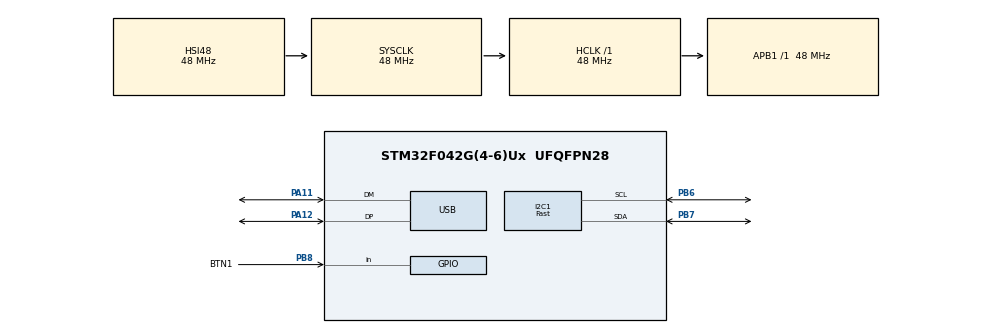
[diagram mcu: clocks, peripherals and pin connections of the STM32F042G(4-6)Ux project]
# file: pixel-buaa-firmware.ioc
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I2C1.I2C_Speed_Mode=I2C_Fast
I2C1.Timing=0x0000020B
Mcu.Family=STM32F0
Mcu.Name=STM32F042G(4-6)Ux
Mcu.Package=UFQFPN28
NVIC.TIM2_IRQn=true\:0\:0\:false\:false\:true\:true\:true
NVIC.TIM3_IRQn=true\:0\:0\:false\:false\:true\:true\:true
PA11.Mode=Device
PA11.Signal=USB_DM
PA12.Mode=Device
PA12.Signal=USB_DP
PA13.Mode=Serial_Wire
PA13.Signal=SYS_SWDIO
PA14.Mode=Serial_Wire
PA14.Signal=SYS_SWCLK
PB6.Mode=I2C
PB6.Signal=I2C1_SCL
PB7.Mode=I2C
PB7.Signal=I2C1_SDA
PB8.GPIO_Label=BTN1
PB8.Signal=GPIO_Input
ProjectManager.HeapSize=0x200
ProjectManager.StackSize=0x400
ProjectManager.TargetToolchain=STM32CubeIDE
RCC.AHBFreq_Value=48000000
RCC.APB1Freq_Value=48000000
RCC.APB1TimFreq_Value=48000000
RCC.HCLKFreq_Value=48000000
RCC.SYSCLKFreq_VALUE=48000000
RCC.SYSCLKSource=RCC_SYSCLKSOURCE_HSI48
TIM2.AutoReloadPreload=TIM_AUTORELOAD_PRELOAD_ENABLE
TIM2.Period=12-1
TIM2.Prescaler=20000-1
TIM3.AutoReloadPreload=TIM_AUTORELOAD_PRELOAD_ENABLE
TIM3.Period=1000-1
TIM3.Prescaler=48-1
VP_ADC_TempSens_Input.Mode=IN-TempSens
VP_SYS_VS_PINREMAP.Mode=PINREMAP
VP_TIM2_VS_ClockSourceINT.Mode=Internal
VP_TIM3_VS_ClockSourceINT.Mode=Internal
board=custom

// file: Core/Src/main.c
/* USER CODE BEGIN Header */
/**
  ******************************************************************************
  * @file           : main.c
  * @brief          : Main program body
  ******************************************************************************
  * @attention
  *
  * <h2><center>&copy; Copyright (c) 2022 STMicroelectronics.
  * All rights reserved.</center></h2>
  *
  * This software component is licensed by ST under BSD 3-Clause license,
  * the "License"; You may not use this file except in compliance with the
  * License. You may obtain a copy of the License at:
  *                        opensource.org/licenses/BSD-3-Clause
  *
  ******************************************************************************
  */
/* USER CODE END Header */
#include "main.h"

/* USER CODE BEGIN Includes */
#include <stdlib.h>
#include "display.h"
#include "button.h"
#include "morse.h"
/* USER CODE END Includes */

ADC_HandleTypeDef hadc;

I2C_HandleTypeDef hi2c1;

TIM_HandleTypeDef htim2;
TIM_HandleTypeDef htim3;

PCD_HandleTypeDef hpcd_USB_FS;

void SystemClock_Config(void);
static void MX_GPIO_Init(void);
static void MX_I2C1_Init(void);
static void MX_ADC_Init(void);
static void MX_TIM2_Init(void);
static void MX_USB_PCD_Init(void);
static void MX_TIM3_Init(void);

int main(void)
{

  /* MCU Configuration--------------------------------------------------------*/

  /* Reset of all peripherals, Initializes the Flash interface and the Systick. */
  HAL_Init();

  /* Configure the system clock */
  SystemClock_Config();

  /* Initialize all configured peripherals */
  MX_GPIO_Init();
  MX_I2C1_Init();
  MX_ADC_Init();
  MX_TIM2_Init();
  MX_USB_PCD_Init();
  MX_TIM3_Init();
  /* USER CODE BEGIN 2 */
  // start button
  configure_button();
  HAL_TIM_Base_Start_IT(&htim2);
  // init random seed with adc read
  HAL_ADC_Start(&hadc);
  uint16_t raw = 0;
  for (uint8_t i = 0; i < 32; i++) {
    HAL_ADC_PollForConversion(&hadc, 5);
    raw += HAL_ADC_GetValue(&hadc);
  }
  srand(raw);
  // start led matrix
  display_init();
  /* USER CODE END 2 */

  /* Infinite loop */
  /* USER CODE BEGIN WHILE */

    const uint32_t refresh_period = 20;
    while (1) {
    /* USER CODE END WHILE */

    /* USER CODE BEGIN 3 */
    uint32_t t1 = HAL_GetTick();
    // run idle morse loop to detect timeout
    morse_loop(&morse_decoder, BI_NONE);
    // run display task to show animates
    display_task(morse_decoder.result);
    // frame rate control
    uint32_t diff = HAL_GetTick() - t1;
    if (diff < refresh_period)
      HAL_Delay(refresh_period - diff);
    }
  /* USER CODE END 3 */
}

void SystemClock_Config(void)
{
  RCC_OscInitTypeDef RCC_OscInitStruct = {0};
  RCC_ClkInitTypeDef RCC_ClkInitStruct = {0};
  RCC_PeriphCLKInitTypeDef PeriphClkInit = {0};

  /** Initializes the RCC Oscillators according to the specified parameters
  * in the RCC_OscInitTypeDef structure.
  */
  RCC_OscInitStruct.OscillatorType = RCC_OSCILLATORTYPE_HSI|RCC_OSCILLATORTYPE_HSI14
                              |RCC_OSCILLATORTYPE_HSI48;
  RCC_OscInitStruct.HSIState = RCC_HSI_ON;
  RCC_OscInitStruct.HSI48State = RCC_HSI48_ON;
  RCC_OscInitStruct.HSI14State = RCC_HSI14_ON;
  RCC_OscInitStruct.HSICalibrationValue = RCC_HSICALIBRATION_DEFAULT;
  RCC_OscInitStruct.HSI14CalibrationValue = 16;
  RCC_OscInitStruct.PLL.PLLState = RCC_PLL_NONE;
  if (HAL_RCC_OscConfig(&RCC_OscInitStruct) != HAL_OK)
  {
    Error_Handler();
  }
  /** Initializes the CPU, AHB and APB buses clocks
  */
  RCC_ClkInitStruct.ClockType = RCC_CLOCKTYPE_HCLK|RCC_CLOCKTYPE_SYSCLK
                              |RCC_CLOCKTYPE_PCLK1;
  RCC_ClkInitStruct.SYSCLKSource = RCC_SYSCLKSOURCE_HSI48;
  RCC_ClkInitStruct.AHBCLKDivider = RCC_SYSCLK_DIV1;
  RCC_ClkInitStruct.APB1CLKDivider = RCC_HCLK_DIV1;

  if (HAL_RCC_ClockConfig(&RCC_ClkInitStruct, FLASH_LATENCY_1) != HAL_OK)
  {
    Error_Handler();
  }
  PeriphClkInit.PeriphClockSelection = RCC_PERIPHCLK_USB|RCC_PERIPHCLK_I2C1;
  PeriphClkInit.I2c1ClockSelection = RCC_I2C1CLKSOURCE_HSI;
  PeriphClkInit.UsbClockSelection = RCC_USBCLKSOURCE_HSI48;

  if (HAL_RCCEx_PeriphCLKConfig(&PeriphClkInit) != HAL_OK)
  {
    Error_Handler();
  }
}

static void MX_ADC_Init(void)
{

  ADC_ChannelConfTypeDef sConfig = {0};

  /** Configure the global features of the ADC (Clock, Resolution, Data Alignment and number of conversion)
  */
  hadc.Instance = ADC1;
  hadc.Init.ClockPrescaler = ADC_CLOCK_ASYNC_DIV1;
  hadc.Init.Resolution = ADC_RESOLUTION_12B;
  hadc.Init.DataAlign = ADC_DATAALIGN_RIGHT;
  hadc.Init.ScanConvMode = ADC_SCAN_DIRECTION_FORWARD;
  hadc.Init.EOCSelection = ADC_EOC_SINGLE_CONV;
  hadc.Init.LowPowerAutoWait = DISABLE;
  hadc.Init.LowPowerAutoPowerOff = DISABLE;
  hadc.Init.ContinuousConvMode = DISABLE;
  hadc.Init.DiscontinuousConvMode = DISABLE;
  hadc.Init.ExternalTrigConv = ADC_SOFTWARE_START;
  hadc.Init.ExternalTrigConvEdge = ADC_EXTERNALTRIGCONVEDGE_NONE;
  hadc.Init.DMAContinuousRequests = DISABLE;
  hadc.Init.Overrun = ADC_OVR_DATA_PRESERVED;
  if (HAL_ADC_Init(&hadc) != HAL_OK)
  {
    Error_Handler();
  }
  /** Configure for the selected ADC regular channel to be converted.
  */
  sConfig.Channel = ADC_CHANNEL_TEMPSENSOR;
  sConfig.Rank = ADC_RANK_CHANNEL_NUMBER;
  sConfig.SamplingTime = ADC_SAMPLETIME_1CYCLE_5;
  if (HAL_ADC_ConfigChannel(&hadc, &sConfig) != HAL_OK)
  {
    Error_Handler();
  }

}

static void MX_I2C1_Init(void)
{

  hi2c1.Instance = I2C1;
  hi2c1.Init.Timing = 0x0000020B;
  hi2c1.Init.OwnAddress1 = 0;
  hi2c1.Init.AddressingMode = I2C_ADDRESSINGMODE_7BIT;
  hi2c1.Init.DualAddressMode = I2C_DUALADDRESS_DISABLE;
  hi2c1.Init.OwnAddress2 = 0;
  hi2c1.Init.OwnAddress2Masks = I2C_OA2_NOMASK;
  hi2c1.Init.GeneralCallMode = I2C_GENERALCALL_DISABLE;
  hi2c1.Init.NoStretchMode = I2C_NOSTRETCH_DISABLE;
  if (HAL_I2C_Init(&hi2c1) != HAL_OK)
  {
    Error_Handler();
  }
  /** Configure Analogue filter
  */
  if (HAL_I2CEx_ConfigAnalogFilter(&hi2c1, I2C_ANALOGFILTER_ENABLE) != HAL_OK)
  {
    Error_Handler();
  }
  /** Configure Digital filter
  */
  if (HAL_I2CEx_ConfigDigitalFilter(&hi2c1, 0) != HAL_OK)
  {
    Error_Handler();
  }

}

static void MX_TIM2_Init(void)
{

  TIM_ClockConfigTypeDef sClockSourceConfig = {0};
  TIM_MasterConfigTypeDef sMasterConfig = {0};

  htim2.Instance = TIM2;
  htim2.Init.Prescaler = 20000-1;
  htim2.Init.CounterMode = TIM_COUNTERMODE_UP;
  htim2.Init.Period = 12-1;
  htim2.Init.ClockDivision = TIM_CLOCKDIVISION_DIV1;
  htim2.Init.AutoReloadPreload = TIM_AUTORELOAD_PRELOAD_ENABLE;
  if (HAL_TIM_Base_Init(&htim2) != HAL_OK)
  {
    Error_Handler();
  }
  sClockSourceConfig.ClockSource = TIM_CLOCKSOURCE_INTERNAL;
  if (HAL_TIM_ConfigClockSource(&htim2, &sClockSourceConfig) != HAL_OK)
  {
    Error_Handler();
  }
  sMasterConfig.MasterOutputTrigger = TIM_TRGO_RESET;
  sMasterConfig.MasterSlaveMode = TIM_MASTERSLAVEMODE_DISABLE;
  if (HAL_TIMEx_MasterConfigSynchronization(&htim2, &sMasterConfig) != HAL_OK)
  {
    Error_Handler();
  }

}

static void MX_TIM3_Init(void)
{

  TIM_ClockConfigTypeDef sClockSourceConfig = {0};
  TIM_MasterConfigTypeDef sMasterConfig = {0};

  htim3.Instance = TIM3;
  htim3.Init.Prescaler = 48-1;
  htim3.Init.CounterMode = TIM_COUNTERMODE_UP;
  htim3.Init.Period = 1000-1;
  htim3.Init.ClockDivision = TIM_CLOCKDIVISION_DIV1;
  htim3.Init.AutoReloadPreload = TIM_AUTORELOAD_PRELOAD_ENABLE;
  if (HAL_TIM_Base_Init(&htim3) != HAL_OK)
  {
    Error_Handler();
  }
  sClockSourceConfig.ClockSource = TIM_CLOCKSOURCE_INTERNAL;
  if (HAL_TIM_ConfigClockSource(&htim3, &sClockSourceConfig) != HAL_OK)
  {
    Error_Handler();
  }
  sMasterConfig.MasterOutputTrigger = TIM_TRGO_RESET;
  sMasterConfig.MasterSlaveMode = TIM_MASTERSLAVEMODE_DISABLE;
  if (HAL_TIMEx_MasterConfigSynchronization(&htim3, &sMasterConfig) != HAL_OK)
  {
    Error_Handler();
  }

}

static void MX_USB_PCD_Init(void)
{

  hpcd_USB_FS.Instance = USB;
  hpcd_USB_FS.Init.dev_endpoints = 8;
  hpcd_USB_FS.Init.speed = PCD_SPEED_FULL;
  hpcd_USB_FS.Init.phy_itface = PCD_PHY_EMBEDDED;
  hpcd_USB_FS.Init.low_power_enable = DISABLE;
  hpcd_USB_FS.Init.lpm_enable = DISABLE;
  hpcd_USB_FS.Init.battery_charging_enable = DISABLE;
  if (HAL_PCD_Init(&hpcd_USB_FS) != HAL_OK)
  {
    Error_Handler();
  }

}

static void MX_GPIO_Init(void)
{
  GPIO_InitTypeDef GPIO_InitStruct = {0};

  /* GPIO Ports Clock Enable */
  __HAL_RCC_GPIOB_CLK_ENABLE();
  __HAL_RCC_GPIOA_CLK_ENABLE();

  /*Configure GPIO pin : BTN1_Pin */
  GPIO_InitStruct.Pin = BTN1_Pin;
  GPIO_InitStruct.Mode = GPIO_MODE_INPUT;
  GPIO_InitStruct.Pull = GPIO_NOPULL;
  HAL_GPIO_Init(BTN1_GPIO_Port, &GPIO_InitStruct);

}

void Error_Handler(void)
{
    __disable_irq();
    while (1) {
    }
}

/************************ (C) COPYRIGHT STMicroelectronics *****END OF FILE****/
